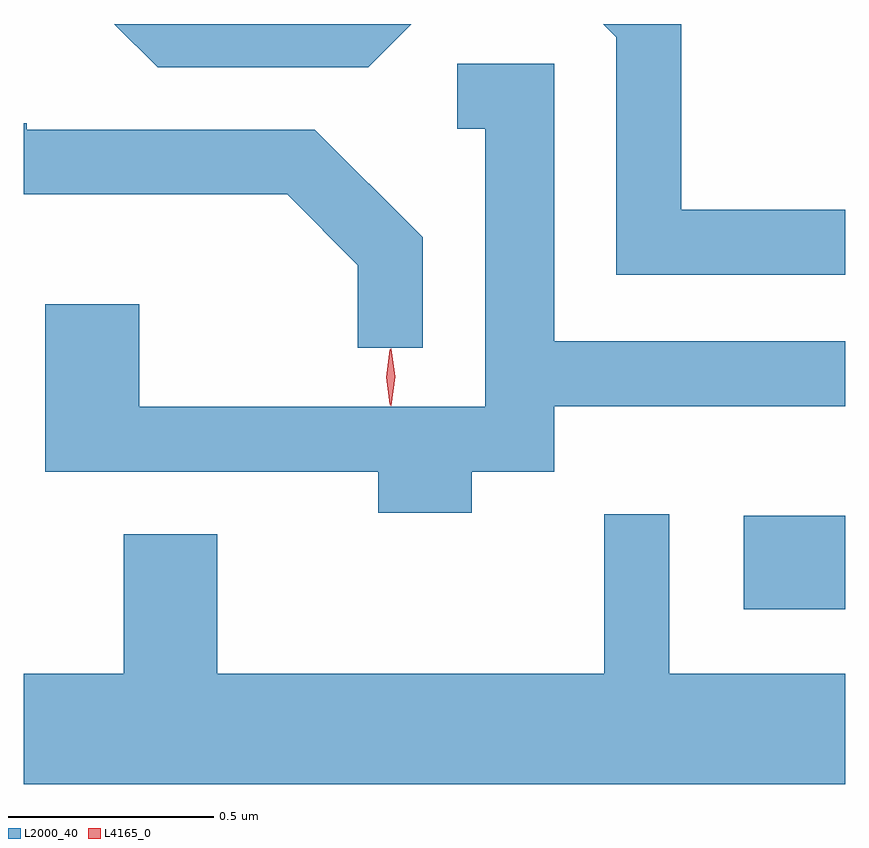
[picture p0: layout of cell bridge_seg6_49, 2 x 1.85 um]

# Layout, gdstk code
import gdstk
lib = gdstk.Library(unit=1e-6, precision=1e-09)
def R(c, l, rs):  # rectangles x0, y0, x1, y1
    for r in rs: c.add(gdstk.rectangle(r[:2], r[2:], *l))
def P(c, l, *ps):  # polygons
    for p in ps: c.add(gdstk.Polygon(p, *l))
L2000_40 = (2000, 40)
L4165_0 = (4165, 0)

bridge_seg6_49 = lib.new_cell('bridge_seg6_49')
R(bridge_seg6_49, L2000_40, [(1552.081,1641.481,1552.328,1641.709)])
P(bridge_seg6_49, L2000_40, [(1551.272,1642.906),(1550.549,1642.906),(1550.654,1642.801),(1551.167,1642.801)],
  [(1552.328,1642.454),(1551.929,1642.454),(1551.929,1642.906),(1551.739,1642.906),(1551.771,1642.874),(1551.771,1642.296),(1552.328,1642.296)],
  [(1551.419,1641.816),(1551.619,1641.816),(1551.619,1641.976),(1552.328,1641.976),(1552.328,1642.134),(1551.619,1642.134),(1551.619,1642.809),(1551.383,1642.809),(1551.383,1642.651),(1551.451,1642.651),(1551.451,1641.974),(1550.609,1641.974),(1550.609,1642.224),(1550.381,1642.224),(1550.381,1641.816),(1551.191,1641.816),(1551.191,1641.716),(1551.419,1641.716)],
  [(1551.299,1642.387),(1551.037,1642.649),(1550.335,1642.649),(1550.335,1642.664),(1550.328,1642.664),(1550.328,1642.491),(1550.969,1642.491),(1551.141,1642.319),(1551.141,1642.118),(1551.299,1642.118)],
  [(1552.328,1641.324),(1551.899,1641.324),(1551.899,1641.713),(1551.741,1641.713),(1551.741,1641.324),(1550.799,1641.324),(1550.799,1641.664),(1550.571,1641.664),(1550.571,1641.324),(1550.328,1641.324),(1550.328,1641.056),(1552.328,1641.056)])
P(bridge_seg6_49, L4165_0, [(1551.222,1641.977),(1551.222,1641.977),(1551.212,1642.047),(1551.222,1642.116),(1551.222,1642.116),(1551.223,1642.116),(1551.232,1642.047),(1551.223,1641.977)],
  [(1551.219,1641.98),(1551.21,1642.046),(1551.219,1642.113),(1551.22,1642.113),(1551.22,1642.113),(1551.23,1642.046),(1551.22,1641.98),(1551.22,1641.98)])

lib.write_gds('bridge_seg6_49.gds')
